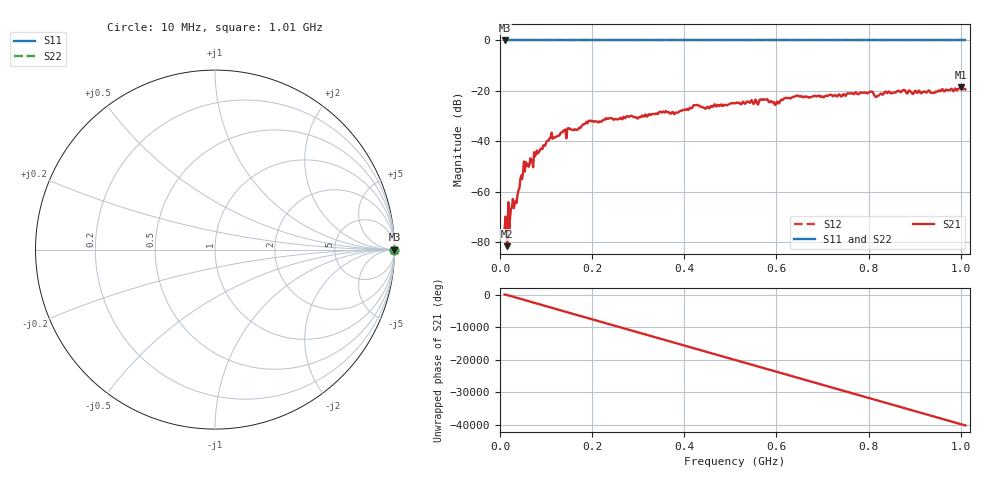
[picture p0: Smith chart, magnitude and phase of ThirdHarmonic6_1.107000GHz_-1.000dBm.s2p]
! 8/16/2025 10:29:33 AM
! C:\ANRITSUVNA\TEMP\TEMP.S2P
! CHANNEL.1
! TR.MEASUREMENT
! RAW.DATA
! RF.CORRECTION.OFF
! AVERAGING.OFF
! IF.BANDWIDTH: 5KHZ
! SWEEPTYPE:  FREQ.SWEEP(Linear)
! Reference Plane Port Info
! PORT:  PORT1  PORT2
! DISTANCE:  0  m  0  m
! TIME:  0  s  0  s
! PHASE.OFFSET:  0  deg.  0  deg.
! LOSS:  0  dB  0  dB
! REF.LOSS:  0  dB  0  dB
! REF.FREQ:  0  Hz  0  Hz
! Power Info
! POWER:  -20  dBm  -20  dBm
! EFF.POWER:  -20  dBm  -20  dBm
! SOURCE.ATTEN:  0  dB  0  dB
! TEST.ATTEN:  0  dB  0  dB
# GHZ S RI R 50.0
! FREQ.GHZ  S11RE  S11IM  S21RE  S21IM  S12RE  S12IM  S22RE  S22IM
!; PortSelection: Port_12
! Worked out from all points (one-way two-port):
!   501 points, 10 MHz to 1.01 GHz, reference 50 ohm
!   highest |S21| = -18.61 dB at 1 GHz (marker M1); lowest = -81.5 dB at 16 MHz (marker M2)
!   lowest |S11| = 0.0 dB at 10 MHz (marker M3)
!   |S11| at or under -10 dB: nowhere
!   |S22| runs from 0.0 to 0.0 dB; largest |S21 - S12| = 1.1
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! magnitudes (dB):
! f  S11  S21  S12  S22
! 10 MHz  0.0  -74.5  0.0  0.0
! 12 MHz  0.0  -69.7  0.0  0.0
! 16 MHz  0.0  -81.5  0.0  0.0
! 18 MHz  0.0  -64.0  0.0  0.0
! 22 MHz  0.0  -69.8  0.0  0.0
! 28 MHz  0.0  -62.8  0.0  0.0
! 34 MHz  0.0  -63.5  0.0  0.0
! 48 MHz  0.0  -54.9  0.0  0.0
! 56 MHz  0.0  -48.1  0.0  0.0
! 68 MHz  0.0  -47.8  0.0  0.0
! 108 MHz  0.0  -38.6  0.0  0.0
! 178 MHz  0.0  -33.8  0.0  0.0
! 196 MHz  0.0  -31.7  0.0  0.0
! 344 MHz  0.0  -28.8  0.0  0.0
! 510 MHz  0.0  -24.9  0.0  0.0
! 576 MHz  0.0  -23.5  0.0  0.0
! 600 MHz  0.0  -24.6  0.0  0.0
! 642 MHz  0.0  -22.0  0.0  0.0
! 678 MHz  0.0  -22.3  0.0  0.0
! 844 MHz  0.0  -20.2  0.0  0.0
! 1 GHz  0.0  -18.6  0.0  0.0
! 1.01 GHz  0.0  -19.4  0.0  0.0
